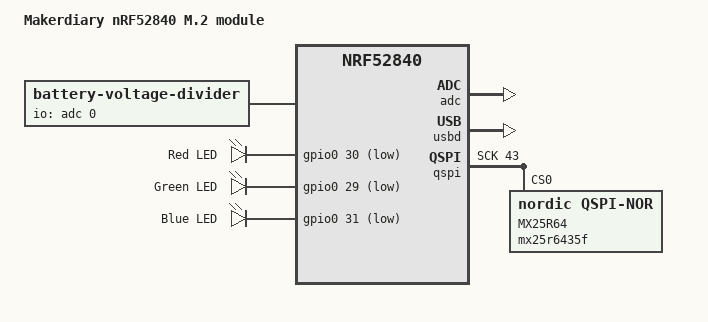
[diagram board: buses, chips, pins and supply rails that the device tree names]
/*
 * Copyright (c) 2020 The ZMK Contributors
 *
 * SPDX-License-Identifier: MIT
 */

/dts-v1/;
#include <nordic/nrf52840_qiaa.dtsi>

/ {
	model = "Makerdiary nRF52840 M.2 module";
	compatible = "makerdiary,nrf52840_m2";

	chosen {
		zephyr,code-partition = &code_partition;
		zephyr,sram = &sram0;
		zephyr,flash = &flash0;
	};

	vbatt {
		compatible = "zmk,battery-voltage-divider";
		label = "BATTERY";
		io-channels = <&adc 0>;
		output-ohms = <1000000>;
		full-ohms = <(1000000 + 1000000)>;
	};

	leds {
		compatible = "gpio-leds";
		// pwr_led: led_0 {
		// 	gpios = <&gpio1 04 GPIO_ACTIVE_LOW>;
		// 	label = "Power LED";
		// };
		red_led: led_1 {
			gpios = <&gpio0 30 GPIO_ACTIVE_LOW>;
			label = "Red LED";
		};
		green_led: led_2 {
			gpios = <&gpio0 29 GPIO_ACTIVE_LOW>;
			label = "Green LED";
		};
		blue_led: led_3 {
			gpios = <&gpio0 31 GPIO_ACTIVE_LOW>;
			label = "Blue LED";
		};
	};

};

&adc {
	status = "okay";
};

&gpiote {
	status = "okay";
};

&gpio0 {
	status = "okay";
};

&gpio1 {
	status = "okay";
};

&usbd {
	compatible = "nordic,nrf-usbd";
	status = "okay";
};

&qspi {
	status = "okay";
	sck-pin = <43>;
	io-pins = <42>, <46>, <47>, <44>;
	csn-pins = <45>;
	mx25r64: mx25r6435f@0 {
		compatible = "nordic,qspi-nor";
		reg = <0>;
		writeoc = "pp4io";
		readoc = "read4io";
		sck-frequency = <8000000>;
		label = "MX25R64";
		jedec-id = [c2 28 17];
		size = <67108864>;
		has-be32k;
		has-dpd;
		t-enter-dpd = <10000>;
		t-exit-dpd = <35000>;
	};
};

&flash0 {
	/*
	 * For more information, see:
	 * http://docs.zephyrproject.org/latest/devices/dts/flash_partitions.html
	 */
	partitions {
		compatible = "fixed-partitions";
		#address-cells = <1>;
		#size-cells = <1>;

		sd_partition: partition@0 {
			label = "softdevice";
			reg = <0x00000000 0x00026000>;
		};
		code_partition: partition@26000 {
			label = "code_partition";
			reg = <0x00026000 0x000c6000>;
		};

		/*
		 * The flash starting at 0x000ec000 and ending at
		 * 0x000f3fff is reserved for use by the application.
		 */

		/*
		 * Storage partition will be used by FCB/LittleFS/NVS
		 * if enabled.
		 */
		storage_partition: partition@ec000 {
			label = "storage";
			reg = <0x000ec000 0x00008000>;
		};

		boot_partition: partition@f4000 {
			label = "adafruit_boot";
			reg = <0x000f4000 0x0000c000>;
		};
	};
};
